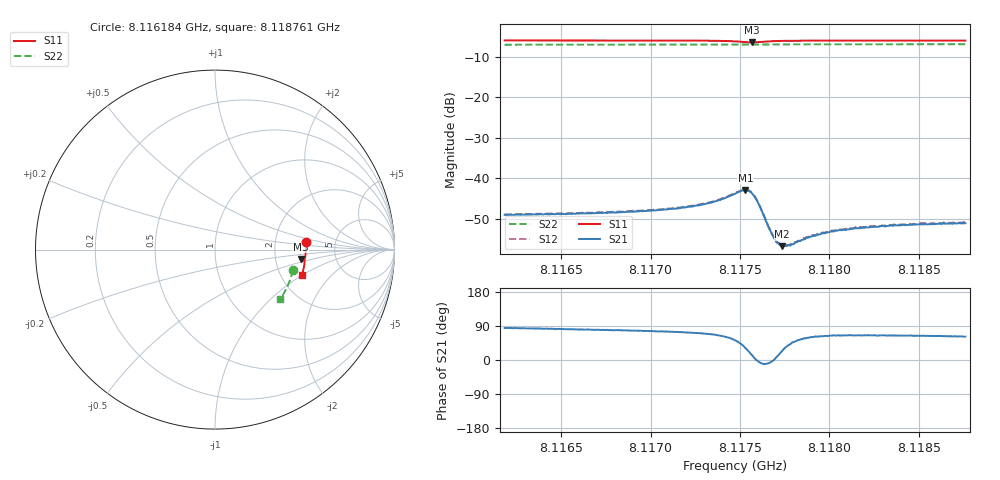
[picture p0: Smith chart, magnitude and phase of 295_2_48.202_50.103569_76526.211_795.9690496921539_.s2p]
#  HZ  S  RI  R  50.00
! Rohde & Schwarz Vector Network Analyzer
! Rohde-Schwarz,ZNB20-2Port,1311601062101988,3.16
! Created: UTC 3/20/2024, 11:49:14 AM
! freq[Hz]  re:S11  im:S11  re:S21  im:S21  re:S12  im:S12  re:S22  im:S22
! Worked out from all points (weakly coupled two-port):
!   401 points, 8.116184 GHz to 8.118761 GHz, reference 50 ohm
!   highest |S21| = -42.96 dB at 8.11753 GHz (marker M1); lowest = -56.8 dB at 8.117736 GHz (marker M2)
!   lowest |S11| = -6.4 dB at 8.117569 GHz (marker M3), VSWR 2.84, Z = 139 - j18.7 ohm
!   |S11| at or under -10 dB: nowhere
!   |S22| runs from -7.0 to -6.8 dB; largest |S21 - S12| = 0.00017
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8.1161836e9  0.505 0.0444  0.000354 0.00352  0.000378 0.00357  0.4343 -0.1141
8.1166153e9  0.5064 0.0118  0.0006 0.00363  0.000669 0.0037  0.4266 -0.1431
8.117047e9  0.5053 -0.0217  0.001 0.00394  0.00106 0.00397  0.4173 -0.1717
8.1172274e9  0.5032 -0.0368  0.00139 0.00427  0.00146 0.00432  0.4128 -0.1835
8.1173176e9  0.5013 -0.0451  0.00176 0.00458  0.00185 0.00463  0.4103 -0.1893
8.1173949e9  0.4982 -0.0528  0.00243 0.00491  0.00253 0.00501  0.4082 -0.1943
8.1174723e9  0.4908 -0.0606  0.00396 0.0051  0.0041 0.00515  0.4056 -0.1993
8.1175303e9  0.4801 -0.0601  0.00603 0.00376  0.00616 0.00381  0.4036 -0.2026
8.1175496e9  0.4772 -0.0566  0.00643 0.00264  0.0066 0.00262  0.4029 -0.2037
8.1175689e9  0.4767 -0.0517  0.00631 0.00134  0.00646 0.00125  0.4025 -0.2046
8.1175882e9  0.479 -0.0476  0.00561 0.000167  0.00572 0.000158  0.4021 -0.2056
8.1176076e9  0.4831 -0.0454  0.00465 -0.000451  0.00472 -0.000522  0.4018 -0.2067
8.1176591e9  0.4924 -0.048  0.00248 -0.000383  0.00252 -0.000401  0.4008 -0.2101
8.1176913e9  0.4956 -0.0519  0.00182 1.43e-05  0.00182 5.66e-05  0.3999 -0.2122
8.1177171e9  0.497 -0.0551  0.0015 0.000351  0.00155 0.000345  0.3991 -0.2139
8.1177364e9  0.4978 -0.0574  0.00132 0.00059  0.00137 0.000591  0.3985 -0.2153
8.117788e9  0.4986 -0.0631  0.00109 0.00107  0.00114 0.00107  0.397 -0.2183
8.117904e9  0.4986 -0.0743  0.000936 0.00168  0.000987 0.00171  0.3935 -0.2259
8.1180457e9  0.4973 -0.0863  0.000969 0.00205  0.00103 0.00209  0.3887 -0.2345
8.1181617e9  0.4956 -0.0955  0.00103 0.00221  0.00103 0.00226  0.3847 -0.2418
8.1183356e9  0.4929 -0.1089  0.00111 0.00235  0.00112 0.00239  0.3783 -0.2522
8.1187609e9  0.4847 -0.14  0.00132 0.00245  0.00135 0.00252  0.3622 -0.2772
